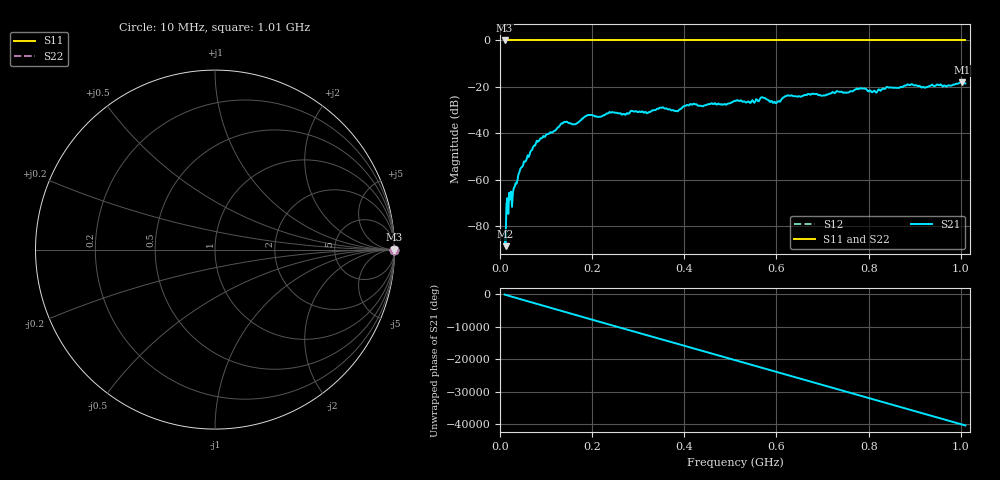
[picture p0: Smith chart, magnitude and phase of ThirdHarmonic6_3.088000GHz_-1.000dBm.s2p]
! 8/17/2025 9:04:33 AM
! C:\ANRITSUVNA\TEMP\TEMP.S2P
! CHANNEL.1
! TR.MEASUREMENT
! RAW.DATA
! RF.CORRECTION.OFF
! AVERAGING.OFF
! IF.BANDWIDTH: 5KHZ
! SWEEPTYPE:  FREQ.SWEEP(Linear)
! Reference Plane Port Info
! PORT:  PORT1  PORT2
! DISTANCE:  0  m  0  m
! TIME:  0  s  0  s
! PHASE.OFFSET:  0  deg.  0  deg.
! LOSS:  0  dB  0  dB
! REF.LOSS:  0  dB  0  dB
! REF.FREQ:  0  Hz  0  Hz
! Power Info
! POWER:  -20  dBm  -20  dBm
! EFF.POWER:  -20  dBm  -20  dBm
! SOURCE.ATTEN:  0  dB  0  dB
! TEST.ATTEN:  0  dB  0  dB
# GHZ S RI R 50.0
! FREQ.GHZ  S11RE  S11IM  S21RE  S21IM  S12RE  S12IM  S22RE  S22IM
!; PortSelection: Port_12
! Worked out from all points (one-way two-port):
!   501 points, 10 MHz to 1.01 GHz, reference 50 ohm
!   highest |S21| = -18.05 dB at 1.002 GHz (marker M1); lowest = -88.6 dB at 12 MHz (marker M2)
!   lowest |S11| = 0.0 dB at 10 MHz (marker M3)
!   |S11| at or under -10 dB: nowhere
!   |S22| runs from 0.0 to 0.0 dB; largest |S21 - S12| = 1.1
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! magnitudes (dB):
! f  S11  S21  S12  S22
! 10 MHz  0.0  -83.4  0.0  0.0
! 12 MHz  0.0  -88.6  0.0  0.0
! 18 MHz  0.0  -74.7  0.0  0.0
! 30 MHz  0.0  -63.6  0.0  0.0
! 44 MHz  0.0  -55.4  0.0  0.0
! 76 MHz  0.0  -45.3  0.0  0.0
! 136 MHz  0.0  -35.8  0.0  0.0
! 162 MHz  0.0  -36.1  0.0  0.0
! 178 MHz  0.0  -33.7  0.0  0.0
! 344 MHz  0.0  -29.5  0.0  0.0
! 382 MHz  0.0  -30.4  0.0  0.0
! 416 MHz  0.0  -27.7  0.0  0.0
! 510 MHz  0.0  -26.0  0.0  0.0
! 570 MHz  0.0  -24.5  0.0  0.0
! 596 MHz  0.0  -26.4  0.0  0.0
! 622 MHz  0.0  -23.9  0.0  0.0
! 678 MHz  0.0  -23.0  0.0  0.0
! 784 MHz  0.0  -20.7  0.0  0.0
! 814 MHz  0.0  -22.0  0.0  0.0
! 844 MHz  0.0  -20.3  0.0  0.0
! 1.002 GHz  0.0  -18.1  0.0  0.0
! 1.01 GHz  0.0  -18.5  0.0  0.0
